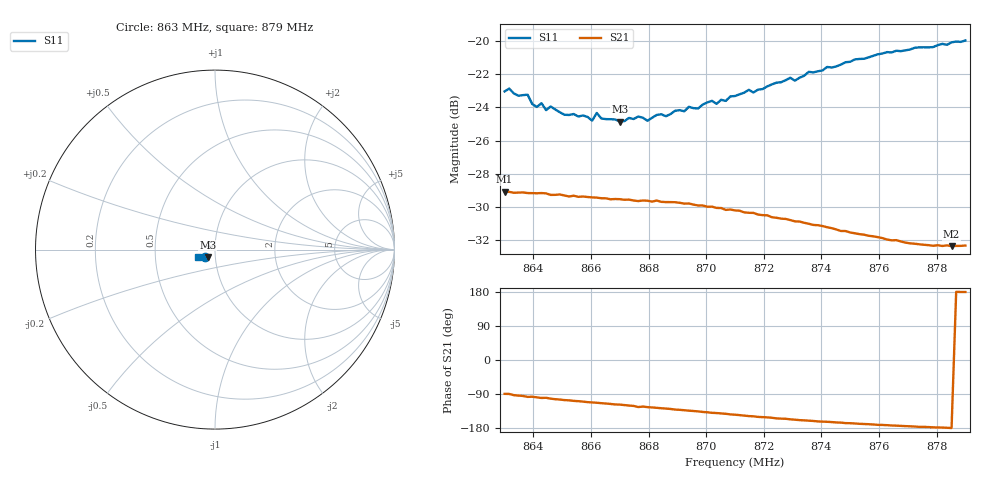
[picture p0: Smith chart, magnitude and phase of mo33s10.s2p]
# HZ S RI R 50
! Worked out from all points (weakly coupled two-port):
!   101 points, 863 MHz to 879 MHz, reference 50 ohm
!   highest |S21| = -29.09 dB at 863 MHz (marker M1); lowest = -32.4 dB at 878.52 MHz (marker M2)
!   lowest |S11| = -24.8 dB at 867 MHz (marker M3), VSWR 1.12, Z = 46 - j3.79 ohm
!   |S11| at or under -10 dB: start of sweep to end of sweep
!   S12 and S22 are empty: the file has one direction only
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8.63e8  -0.0563 -0.0424  0.000431 -0.0351  0 0  0 0
8.6316e8  -0.0588 -0.0414  0.000237 -0.0351  0 0  0 0
8.6348e8  -0.0547 -0.0411  -0.00241 -0.0348  0 0  0 0
8.638e8  -0.0562 -0.0399  -0.00443 -0.0345  0 0  0 0
8.6396e8  -0.0508 -0.0399  -0.00419 -0.0345  0 0  0 0
8.6428e8  -0.0503 -0.0411  -0.00615 -0.0342  0 0  0 0
8.6444e8  -0.048 -0.0392  -0.00582 -0.0342  0 0  0 0
8.646e8  -0.0492 -0.0402  -0.00714 -0.0336  0 0  0 0
8.6508e8  -0.0457 -0.0388  -0.0093 -0.0329  0 0  0 0
8.6572e8  -0.0439 -0.0405  -0.0115 -0.032  0 0  0 0
8.6604e8  -0.0423 -0.039  -0.0126 -0.0313  0 0  0 0
8.662e8  -0.0457 -0.0399  -0.0131 -0.0311  0 0  0 0
8.6636e8  -0.0426 -0.04  -0.0136 -0.0307  0 0  0 0
8.67e8  -0.0399 -0.0411  -0.0155 -0.0295  0 0  0 0
8.6764e8  -0.0394 -0.0442  -0.0185 -0.0272  0 0  0 0
8.6796e8  -0.0366 -0.0444  -0.0186 -0.0272  0 0  0 0
8.6844e8  -0.0383 -0.0464  -0.0198 -0.0261  0 0  0 0
8.71e8  -0.0422 -0.0537  -0.0251 -0.0179  0 0  0 0
8.7372e8  -0.0547 -0.0591  -0.0263 -0.00914  0 0  0 0
8.7644e8  -0.0753 -0.0537  -0.0248 -0.00312  0 0  0 0
8.7852e8  -0.0892 -0.0434  -0.024 -0.000219  0 0  0 0
8.79e8  -0.0927 -0.0388  -0.0242 0.000262  0 0  0 0
